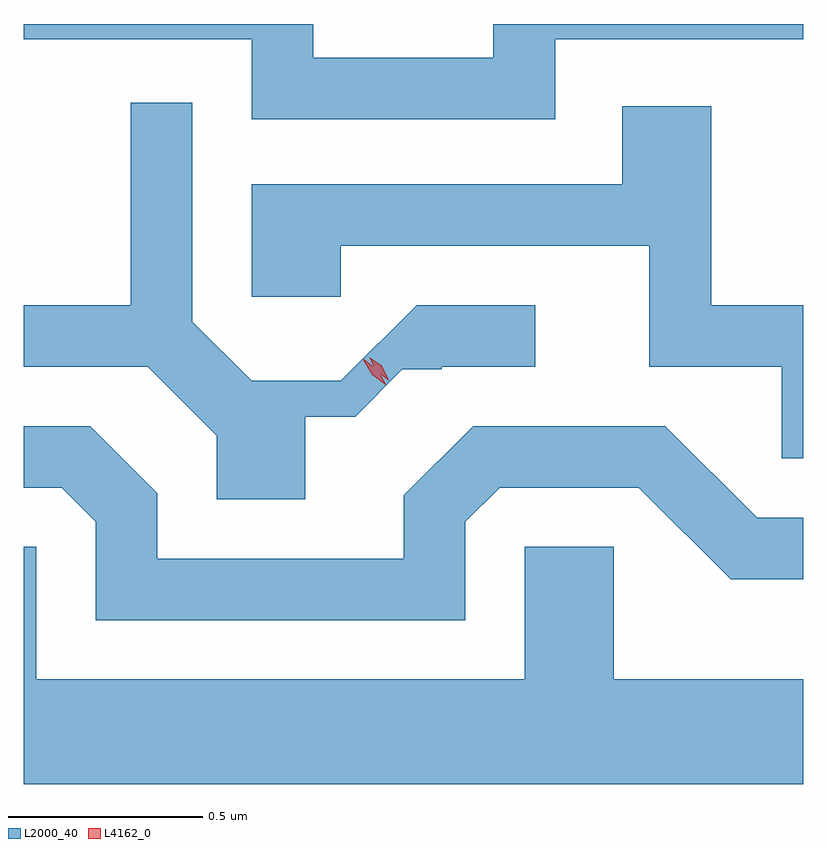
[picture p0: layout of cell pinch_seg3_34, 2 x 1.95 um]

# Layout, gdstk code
import gdstk
lib = gdstk.Library(unit=1e-6, precision=1e-09)
def P(c, l, *ps):  # polygons
    for p in ps: c.add(gdstk.Polygon(p, *l))
L2000_40 = (2000, 40)
L4162_0 = (4162, 0)

pinch_seg3_34 = lib.new_cell('pinch_seg3_34')
P(pinch_seg3_34, L2000_40, [(1746.259,1130.146),(1746.896,1130.146),(1746.896,1130.185),(1746.101,1130.185),(1746.101,1130.099),(1745.639,1130.099),(1745.639,1130.185),(1744.896,1130.185),(1744.896,1130.146),(1745.481,1130.146),(1745.481,1129.941),(1746.259,1129.941)],
  [(1745.619,1129.178),(1745.746,1129.178),(1745.867,1129.299),(1745.969,1129.299),(1745.969,1129.306),(1746.208,1129.306),(1746.208,1129.464),(1745.904,1129.464),(1745.71,1129.27),(1745.481,1129.27),(1745.329,1129.422),(1745.329,1129.983),(1745.171,1129.983),(1745.171,1129.464),(1744.896,1129.464),(1744.896,1129.306),(1745.214,1129.306),(1745.391,1129.129),(1745.391,1128.966),(1745.619,1128.966)],
  [(1746.896,1129.464),(1746.659,1129.464),(1746.659,1129.974),(1746.431,1129.974),(1746.431,1129.774),(1745.481,1129.774),(1745.481,1129.486),(1745.709,1129.486),(1745.709,1129.616),(1746.501,1129.616),(1746.501,1129.306),(1746.841,1129.306),(1746.841,1129.071),(1746.896,1129.071)],
  [(1746.029,1128.909),(1746.117,1128.996),(1746.474,1128.996),(1746.709,1128.761),(1746.896,1128.761),(1746.896,1128.919),(1746.777,1128.919),(1746.542,1129.154),(1746.049,1129.154),(1745.871,1128.977),(1745.871,1128.814),(1745.239,1128.814),(1745.239,1128.982),(1745.067,1129.154),(1744.896,1129.154),(1744.896,1128.996),(1744.994,1128.996),(1745.081,1128.909),(1745.081,1128.656),(1746.029,1128.656)],
  [(1746.896,1128.504),(1746.409,1128.504),(1746.409,1128.844),(1746.181,1128.844),(1746.181,1128.504),(1744.929,1128.504),(1744.929,1128.844),(1744.896,1128.844),(1744.896,1128.236),(1746.896,1128.236)])
P(pinch_seg3_34, L4162_0, [(1745.826,1129.258),(1745.79,1129.285),(1745.767,1129.324),(1745.767,1129.325),(1745.768,1129.325),(1745.804,1129.298),(1745.826,1129.259),(1745.826,1129.258)],
  [(1745.832,1129.272),(1745.8,1129.295),(1745.783,1129.33),(1745.783,1129.33),(1745.783,1129.33),(1745.815,1129.308),(1745.833,1129.273),(1745.833,1129.272)])

lib.write_gds('pinch_seg3_34.gds')
